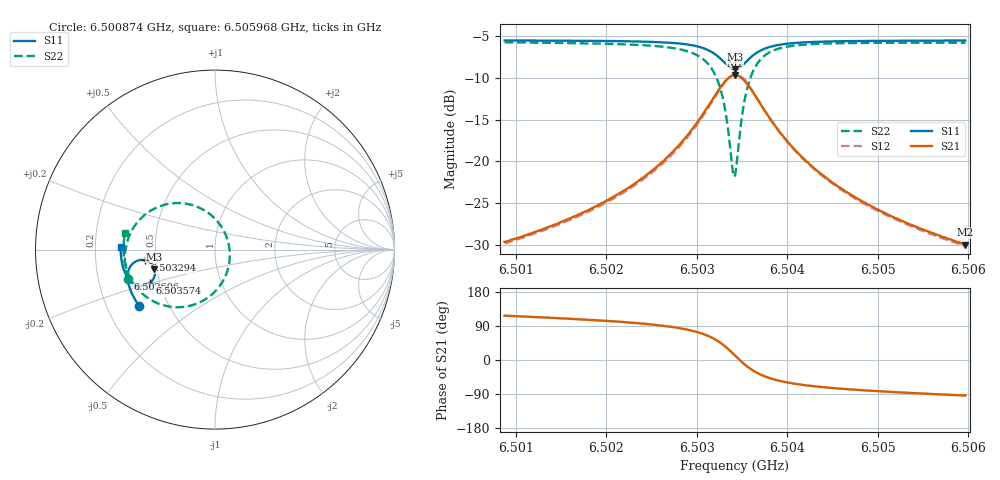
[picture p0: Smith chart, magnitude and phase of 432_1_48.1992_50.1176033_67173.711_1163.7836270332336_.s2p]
#  HZ  S  RI  R  50.00
! Rohde & Schwarz Vector Network Analyzer
! Rohde-Schwarz,ZNB20-2Port,1311601062101988,3.16
! Created: UTC 3/20/2024, 11:55:22 AM
! freq[Hz]  re:S11  im:S11  re:S21  im:S21  re:S12  im:S12  re:S22  im:S22
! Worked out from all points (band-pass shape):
!   401 points, 6.500874 GHz to 6.505968 GHz, reference 50 ohm
!   highest |S21| = -9.70 dB at 6.503421 GHz (marker M1); lowest = -29.9 dB at 6.505968 GHz (marker M2)
!   |S21| within 3 dB of the highest: 6.503167 GHz to 6.503676 GHz (508.9 kHz wide, 0.00783 % of centre)
!   lowest |S11| = -9.0 dB at 6.503421 GHz (marker M3), VSWR 2.10, Z = 24.3 - j5.97 ohm
!   |S11| at or under -10 dB: nowhere
!   |S22| runs from -21.8 to -5.8 dB; largest |S21 - S12| = 0.012
!   S11 on the Smith chart (normalised r, x): 6.500874 GHz: 0.34, -0.30; 6.502606 GHz: 0.33, -0.15; 6.503294 GHz: 0.44, -0.06; 6.503574 GHz: 0.44, -0.20; 6.505968 GHz: 0.31, +0.01
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6.500874e9  -0.423 -0.3135  -0.0149 0.0296  -0.0133 0.0296  -0.4871 -0.1616
6.5017272e9  -0.4601 -0.2511  -0.0145 0.0471  -0.0119 0.0467  -0.5017 -0.0723
6.5022366e9  -0.4782 -0.2058  -0.0112 0.0684  -0.00805 0.0673  -0.4986 -0.000107
6.5025805e9  -0.4863 -0.1679  -0.00279 0.0954  0.000859 0.0932  -0.4809 0.0687
6.5026059e9  -0.4866 -0.1647  -0.00175 0.0981  0.00191 0.0957  -0.4783 0.0749
6.5028988e9  -0.4834 -0.1201  0.025 0.1416  0.0289 0.1371  -0.4228 0.1636
6.5030898e9  -0.4623 -0.082  0.0785 0.1835  0.081 0.1774  -0.3208 0.2361
6.5032045e9  -0.4302 -0.0612  0.1468 0.2014  0.1477 0.1949  -0.1977 0.2592
6.5032936e9  -0.3901 -0.0591  0.2256 0.1858  0.2261 0.1806  -0.0615 0.2203
6.5033318e9  -0.3709 -0.0665  0.2619 0.1631  0.2628 0.1585  -0.00176 0.174
6.5033955e9  -0.3441 -0.093  0.3097 0.0997  0.3125 0.0948  0.0708 0.0522
6.5034209e9  -0.3378 -0.1075  0.3201 0.0679  0.3233 0.0618  0.0819 -0.00742
6.5034464e9  -0.3346 -0.1231  0.3239 0.0344  0.3274 0.0272  0.0804 -0.0686
6.5035101e9  -0.3416 -0.1602  0.3062 -0.0433  0.3084 -0.0536  0.0258 -0.2036
6.5035738e9  -0.3626 -0.186  0.2636 -0.0975  0.2626 -0.1089  -0.0703 -0.2865
6.5036756e9  -0.4021 -0.2013  0.1894 -0.1339  0.184 -0.1434  -0.2195 -0.3209
6.5038412e9  -0.448 -0.1917  0.1079 -0.1308  0.101 -0.136  -0.3662 -0.2747
6.5040195e9  -0.4754 -0.1703  0.0636 -0.111  0.0575 -0.1133  -0.438 -0.2103
6.5042742e9  -0.4961 -0.1403  0.0337 -0.0869  0.0291 -0.0876  -0.4814 -0.1385
6.5046689e9  -0.5121 -0.0994  0.0145 -0.0633  0.0112 -0.063  -0.5041 -0.0618
6.5051274e9  -0.5211 -0.0573  0.00507 -0.0475  0.00266 -0.0469  -0.5099 0.00192
6.5059679e9  -0.5259 0.0136  -0.00209 -0.0319  -0.00336 -0.0311  -0.5019 0.09
